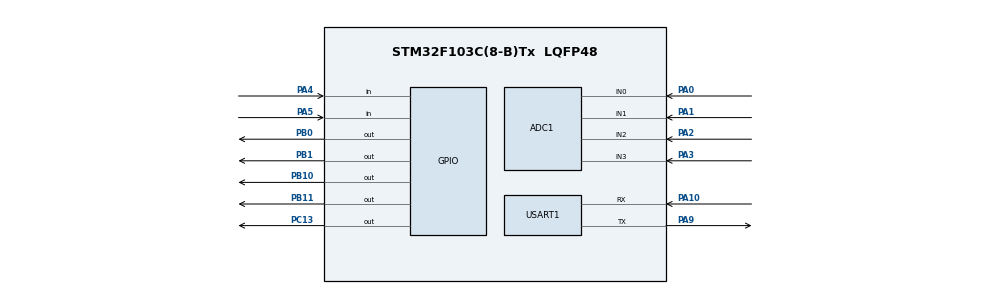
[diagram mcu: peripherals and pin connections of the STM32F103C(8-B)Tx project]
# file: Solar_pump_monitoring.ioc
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ADC1.Channel-0\#ChannelRegularConversion=ADC_CHANNEL_0
ADC1.ContinuousConvMode=DISABLE
ADC1.NbrOfConversion=1
ADC1.NbrOfConversionFlag=1
ADC1.Rank-0\#ChannelRegularConversion=1
ADC1.SamplingTime-0\#ChannelRegularConversion=ADC_SAMPLETIME_239CYCLES_5
ADC1.master=1
Mcu.Family=STM32F1
Mcu.Name=STM32F103C(8-B)Tx
Mcu.Package=LQFP48
NVIC.PriorityGroup=NVIC_PRIORITYGROUP_4
PA0-WKUP.Signal=ADCx_IN0
PA1.Signal=ADCx_IN1
PA10.Mode=Asynchronous
PA10.Signal=USART1_RX
PA2.Signal=ADCx_IN2
PA3.Signal=ADCx_IN3
PA4.GPIO_PuPd=GPIO_PULLUP
PA4.Signal=GPIO_Input
PA5.GPIO_PuPd=GPIO_PULLUP
PA5.Signal=GPIO_Input
PA9.Mode=Asynchronous
PA9.Signal=USART1_TX
PB0.Signal=GPIO_Output
PB1.Signal=GPIO_Output
PB10.Signal=GPIO_Output
PB11.Signal=GPIO_Output
PC13-TAMPER-RTC.Signal=GPIO_Output
ProjectManager.HeapSize=0x200
ProjectManager.StackSize=0x400
ProjectManager.TargetToolchain=STM32CubeIDE
RCC.APB1Freq_Value=8000000
RCC.APB2Freq_Value=8000000
SH.ADCx_IN0.0=ADC1_IN0,IN0
SH.ADCx_IN1.0=ADC1_IN1,IN1
SH.ADCx_IN2.0=ADC1_IN2,IN2
SH.ADCx_IN3.0=ADC1_IN3,IN3
USART1.VirtualMode=VM_ASYNC
VP_SYS_VS_ND.Mode=No_Debug
board=custom

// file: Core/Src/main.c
/* USER CODE BEGIN Header */
/**
  ******************************************************************************
  * @file           : main.c
  * @brief          : Main program body
  ******************************************************************************
  * @attention
  *
  * Copyright (c) 2026 STMicroelectronics.
  * All rights reserved.
  *
  * This software is licensed under terms that can be found in the LICENSE file
  * in the root directory of this software component.
  * If no LICENSE file comes with this software, it is provided AS-IS.
  *
  ******************************************************************************
  */
/* USER CODE END Header */
#include "main.h"
#include <stdio.h>

ADC_HandleTypeDef hadc1;

UART_HandleTypeDef huart1;

/* USER CODE BEGIN PV */
#define LED_ON(port,pin)  HAL_GPIO_WritePin(port,pin,GPIO_PIN_RESET)
#define LED_OFF(port,pin) HAL_GPIO_WritePin(port,pin,GPIO_PIN_SET)
#define BUZZER_ON()  HAL_GPIO_WritePin(GPIOB,GPIO_PIN_11,GPIO_PIN_SET)
#define BUZZER_OFF() HAL_GPIO_WritePin(GPIOB,GPIO_PIN_11,GPIO_PIN_RESET)
/* USER CODE END PV */

void SystemClock_Config(void);
static void MX_GPIO_Init(void);
static void MX_USART1_UART_Init(void);
static void MX_ADC1_Init(void);
#define BATTERY_MIN_VOLTAGE  2.3f
#define SOLAR_CHARGE_VOLTAGE 2.5f

#define TANK_FULL_LEVEL      50.0f
#define TANK_EMPTY_LEVEL     20.0f
#define TANK_LOW_LEVEL       40.0f
#define TANK_HIGH_LEVEL      53.0f
/* USER CODE BEGIN PFP */
int __io_putchar(int ch)
{
    HAL_UART_Transmit(&huart1, (uint8_t *)&ch, 1, HAL_MAX_DELAY);
    return ch;
}
/* USER CODE END PFP */

/* USER CODE BEGIN 0 */
uint32_t Read_ADC_Channel(uint32_t channel)
{
    ADC_ChannelConfTypeDef sConfig = {0};

    sConfig.Channel = channel;
    sConfig.Rank = ADC_REGULAR_RANK_1;
    sConfig.SamplingTime = ADC_SAMPLETIME_239CYCLES_5;

    HAL_ADC_ConfigChannel(&hadc1, &sConfig);

    HAL_ADC_Start(&hadc1);

    HAL_ADC_PollForConversion(&hadc1, 100);

    uint32_t value = HAL_ADC_GetValue(&hadc1);

    HAL_ADC_Stop(&hadc1);

    return value;
}
/* USER CODE END 0 */

int main(void)
{

  /* MCU Configuration--------------------------------------------------------*/

  /* Reset of all peripherals, Initializes the Flash interface and the Systick. */
  HAL_Init();

  /* Configure the system clock */
  SystemClock_Config();

  /* Initialize all configured peripherals */
  MX_GPIO_Init();
  MX_USART1_UART_Init();
  MX_ADC1_Init();
  /* USER CODE BEGIN 2 */
  LED_ON(GPIOB,GPIO_PIN_0);
  HAL_Delay(300);

  LED_ON(GPIOB,GPIO_PIN_1);
  HAL_Delay(300);

  LED_ON(GPIOB,GPIO_PIN_10);
  HAL_Delay(300);

  LED_OFF(GPIOB,GPIO_PIN_11);
  HAL_Delay(300);

  LED_ON(GPIOC,GPIO_PIN_13);
  HAL_Delay(300);

  LED_OFF(GPIOB,GPIO_PIN_0);
  LED_OFF(GPIOB,GPIO_PIN_1);
  LED_OFF(GPIOB,GPIO_PIN_10);
  LED_ON(GPIOB,GPIO_PIN_11);
  LED_OFF(GPIOC,GPIO_PIN_13);
  uint32_t solar_adc;
  uint32_t battery_adc;
  uint32_t current_adc;
  uint32_t tank_adc;
  float solar_voltage;
  float battery_voltage;
  float pump_current;
  float tank_level;

  uint8_t pumpFeedback;
  uint8_t dryRun;

  uint8_t pumpStatus = 0;
  uint8_t chargingStatus = 0;
  /* USER CODE END 2 */

  /* Infinite loop */
  while (1)
  {
	  pumpFeedback = !HAL_GPIO_ReadPin(GPIOA, GPIO_PIN_4);

	  dryRun = !HAL_GPIO_ReadPin(GPIOA, GPIO_PIN_5);

	  solar_adc   = Read_ADC_Channel(ADC_CHANNEL_0);
	  battery_adc = Read_ADC_Channel(ADC_CHANNEL_1);
	  current_adc = Read_ADC_Channel(ADC_CHANNEL_2);
	  tank_adc    = Read_ADC_Channel(ADC_CHANNEL_3);

	  solar_voltage   = (solar_adc * 3.3f) / 4095.0f;

	  battery_voltage = (battery_adc * 3.3f) / 4095.0f;

	  pump_current    = (current_adc * 10.0f) / 4095.0f;   // Simulate 0-10A

	  tank_level      = (tank_adc * 100.0f) / 4095.0f;     // 0-100%
	  // Charging Logic
	  if(solar_voltage > SOLAR_CHARGE_VOLTAGE && battery_voltage < 3.2)
	  {
	      LED_ON(GPIOB, GPIO_PIN_1);      // Charging LED
	      LED_ON(GPIOC,GPIO_PIN_13);
	  }
	  else
	  {
	      LED_OFF(GPIOB, GPIO_PIN_1);
	      LED_ON(GPIOC,GPIO_PIN_13);
	  }

	  // Pump Control Logic

	  if(tank_level < TANK_LOW_LEVEL)
	  {
	      if(battery_voltage > BATTERY_MIN_VOLTAGE)
	      {
	          if(dryRun == 1)
	          {
	              // Start Pump

	              LED_ON(GPIOB, GPIO_PIN_0);
	              LED_ON(GPIOC,GPIO_PIN_13);
	              //HAL_Delay(2000);

	              if(pumpFeedback)
	              {
	                  // Normal Operation

	                  LED_OFF(GPIOB, GPIO_PIN_10);

	                  BUZZER_OFF();

	                  LED_ON(GPIOC, GPIO_PIN_13);
	                  LED_ON(GPIOC,GPIO_PIN_13);
	              }
	              else
	              {
	                  // Pump Feedback Fault

	                  LED_OFF(GPIOB, GPIO_PIN_0);

	                  LED_ON(GPIOB, GPIO_PIN_10);

	                  BUZZER_ON();
	                  LED_OFF(GPIOC,GPIO_PIN_13);
	              }
	          }
	          else
	          {
	              // Dry Run Fault

	              LED_OFF(GPIOB, GPIO_PIN_0);

	              LED_ON(GPIOB, GPIO_PIN_10);

	              BUZZER_ON();
	              LED_OFF(GPIOC,GPIO_PIN_13);
	          }
	      }
	      else
	      {
	          // Low Battery Fault

	          LED_OFF(GPIOB, GPIO_PIN_0);

	          LED_ON(GPIOB, GPIO_PIN_10);

	          BUZZER_ON();
	          LED_OFF(GPIOC,GPIO_PIN_13);
	      }
	  }
	  else if(tank_level >= TANK_HIGH_LEVEL)
	  {
	      // Tank Full

	      LED_OFF(GPIOB, GPIO_PIN_0);

	      LED_OFF(GPIOB, GPIO_PIN_10);

	      BUZZER_OFF();
	      LED_ON(GPIOC,GPIO_PIN_13);
	  }
	  printf("SV=%.2f,", solar_voltage);
	  printf("BV=%.2f,", battery_voltage);
	  printf("PC=%.2f,", pump_current);
	  printf("TL=%.1f,", tank_level);

	  printf("PF=%d,", pumpFeedback);
	  printf("DR=%d,", dryRun);

	  printf("PS=%d,", pumpStatus);
	  printf("CS=%d\r\n", chargingStatus);

	  HAL_Delay(3000);
  }
}

void SystemClock_Config(void)
{
  RCC_OscInitTypeDef RCC_OscInitStruct = {0};
  RCC_ClkInitTypeDef RCC_ClkInitStruct = {0};
  RCC_PeriphCLKInitTypeDef PeriphClkInit = {0};

  /** Initializes the RCC Oscillators according to the specified parameters
  * in the RCC_OscInitTypeDef structure.
  */
  RCC_OscInitStruct.OscillatorType = RCC_OSCILLATORTYPE_HSI;
  RCC_OscInitStruct.HSIState = RCC_HSI_ON;
  RCC_OscInitStruct.HSICalibrationValue = RCC_HSICALIBRATION_DEFAULT;
  RCC_OscInitStruct.PLL.PLLState = RCC_PLL_NONE;
  if (HAL_RCC_OscConfig(&RCC_OscInitStruct) != HAL_OK)
  {
    Error_Handler();
  }

  /** Initializes the CPU, AHB and APB buses clocks
  */
  RCC_ClkInitStruct.ClockType = RCC_CLOCKTYPE_HCLK|RCC_CLOCKTYPE_SYSCLK
                              |RCC_CLOCKTYPE_PCLK1|RCC_CLOCKTYPE_PCLK2;
  RCC_ClkInitStruct.SYSCLKSource = RCC_SYSCLKSOURCE_HSI;
  RCC_ClkInitStruct.AHBCLKDivider = RCC_SYSCLK_DIV1;
  RCC_ClkInitStruct.APB1CLKDivider = RCC_HCLK_DIV1;
  RCC_ClkInitStruct.APB2CLKDivider = RCC_HCLK_DIV1;

  if (HAL_RCC_ClockConfig(&RCC_ClkInitStruct, FLASH_LATENCY_0) != HAL_OK)
  {
    Error_Handler();
  }
  PeriphClkInit.PeriphClockSelection = RCC_PERIPHCLK_ADC;
  PeriphClkInit.AdcClockSelection = RCC_ADCPCLK2_DIV2;
  if (HAL_RCCEx_PeriphCLKConfig(&PeriphClkInit) != HAL_OK)
  {
    Error_Handler();
  }
}

static void MX_ADC1_Init(void)
{

  ADC_ChannelConfTypeDef sConfig = {0};

  /** Common config
  */
  hadc1.Instance = ADC1;
  hadc1.Init.ScanConvMode = ADC_SCAN_DISABLE;
  hadc1.Init.ContinuousConvMode = DISABLE;
  hadc1.Init.DiscontinuousConvMode = DISABLE;
  hadc1.Init.ExternalTrigConv = ADC_SOFTWARE_START;
  hadc1.Init.DataAlign = ADC_DATAALIGN_RIGHT;
  hadc1.Init.NbrOfConversion = 1;
  if (HAL_ADC_Init(&hadc1) != HAL_OK)
  {
    Error_Handler();
  }

  /** Configure Regular Channel
  */
  sConfig.Channel = ADC_CHANNEL_0;
  sConfig.Rank = ADC_REGULAR_RANK_1;
  sConfig.SamplingTime = ADC_SAMPLETIME_239CYCLES_5;
  if (HAL_ADC_ConfigChannel(&hadc1, &sConfig) != HAL_OK)
  {
    Error_Handler();
  }

}

static void MX_USART1_UART_Init(void)
{

  huart1.Instance = USART1;
  huart1.Init.BaudRate = 115200;
  huart1.Init.WordLength = UART_WORDLENGTH_8B;
  huart1.Init.StopBits = UART_STOPBITS_1;
  huart1.Init.Parity = UART_PARITY_NONE;
  huart1.Init.Mode = UART_MODE_TX_RX;
  huart1.Init.HwFlowCtl = UART_HWCONTROL_NONE;
  huart1.Init.OverSampling = UART_OVERSAMPLING_16;
  if (HAL_UART_Init(&huart1) != HAL_OK)
  {
    Error_Handler();
  }

}

static void MX_GPIO_Init(void)
{
  GPIO_InitTypeDef GPIO_InitStruct = {0};

  /* GPIO Ports Clock Enable */
  __HAL_RCC_GPIOC_CLK_ENABLE();
  __HAL_RCC_GPIOA_CLK_ENABLE();
  __HAL_RCC_GPIOB_CLK_ENABLE();

  /*Configure GPIO pin Output Level */
  HAL_GPIO_WritePin(GPIOC, GPIO_PIN_13, GPIO_PIN_RESET);

  /*Configure GPIO pin Output Level */
  HAL_GPIO_WritePin(GPIOB, GPIO_PIN_0|GPIO_PIN_1|GPIO_PIN_10|GPIO_PIN_11, GPIO_PIN_RESET);

  /*Configure GPIO pin : PC13 */
  GPIO_InitStruct.Pin = GPIO_PIN_13;
  GPIO_InitStruct.Mode = GPIO_MODE_OUTPUT_PP;
  GPIO_InitStruct.Pull = GPIO_NOPULL;
  GPIO_InitStruct.Speed = GPIO_SPEED_FREQ_LOW;
  HAL_GPIO_Init(GPIOC, &GPIO_InitStruct);

  /*Configure GPIO pins : PA4 PA5 */
  GPIO_InitStruct.Pin = GPIO_PIN_4|GPIO_PIN_5;
  GPIO_InitStruct.Mode = GPIO_MODE_INPUT;
  GPIO_InitStruct.Pull = GPIO_PULLUP;
  HAL_GPIO_Init(GPIOA, &GPIO_InitStruct);

  /*Configure GPIO pins : PB0 PB1 PB10 PB11 */
  GPIO_InitStruct.Pin = GPIO_PIN_0|GPIO_PIN_1|GPIO_PIN_10|GPIO_PIN_11;
  GPIO_InitStruct.Mode = GPIO_MODE_OUTPUT_PP;
  GPIO_InitStruct.Pull = GPIO_NOPULL;
  GPIO_InitStruct.Speed = GPIO_SPEED_FREQ_LOW;
  HAL_GPIO_Init(GPIOB, &GPIO_InitStruct);

}

void Error_Handler(void)
{
  __disable_irq();
  while (1)
  {
  }
}
